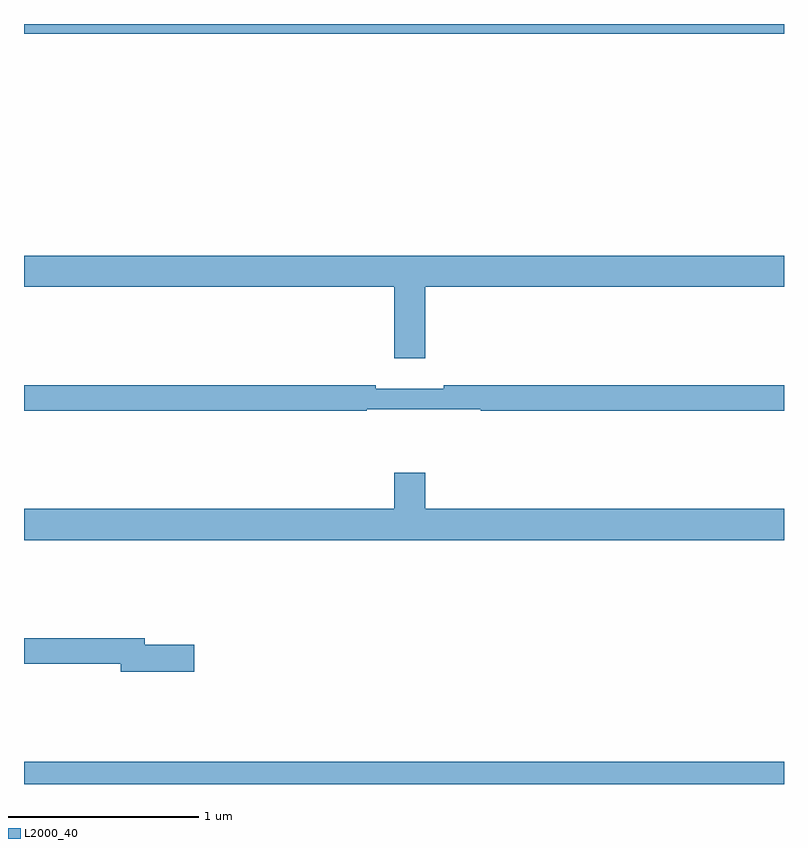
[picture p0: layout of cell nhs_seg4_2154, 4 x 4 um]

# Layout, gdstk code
import gdstk
lib = gdstk.Library(unit=1e-6, precision=1e-09)
def R(c, l, rs):  # rectangles x0, y0, x1, y1
    for r in rs: c.add(gdstk.rectangle(r[:2], r[2:], *l))
def P(c, l, *ps):  # polygons
    for p in ps: c.add(gdstk.Polygon(p, *l))
L2000_40 = (2000, 40)

nhs_seg4_2154 = lib.new_cell('nhs_seg4_2154')
R(nhs_seg4_2154, L2000_40, [(223,764.9,227,765.016), (223,768.848,227,768.9)])
P(nhs_seg4_2154, L2000_40, [(225.112,767.516),(227,767.516),(227,767.68),(223,767.68),(223,767.516),(224.948,767.516),(224.948,767.142),(225.112,767.142)],
  [(224.804,766.872),(225.404,766.872),(225.404,766.864),(227,766.864),(227,767),(225.208,767),(225.208,766.981),(224.852,766.981),(224.852,767),(223,767),(223,766.864),(224.804,766.864)],
  [(227,766.348),(225.112,766.348),(225.112,766.537),(224.948,766.537),(224.948,766.348),(223,766.348),(223,766.184),(227,766.184)],
  [(223.897,765.632),(223.636,765.632),(223.636,765.668),(223,765.668),(223,765.532),(223.508,765.532),(223.508,765.49),(223.897,765.49)])

lib.write_gds('nhs_seg4_2154.gds')
